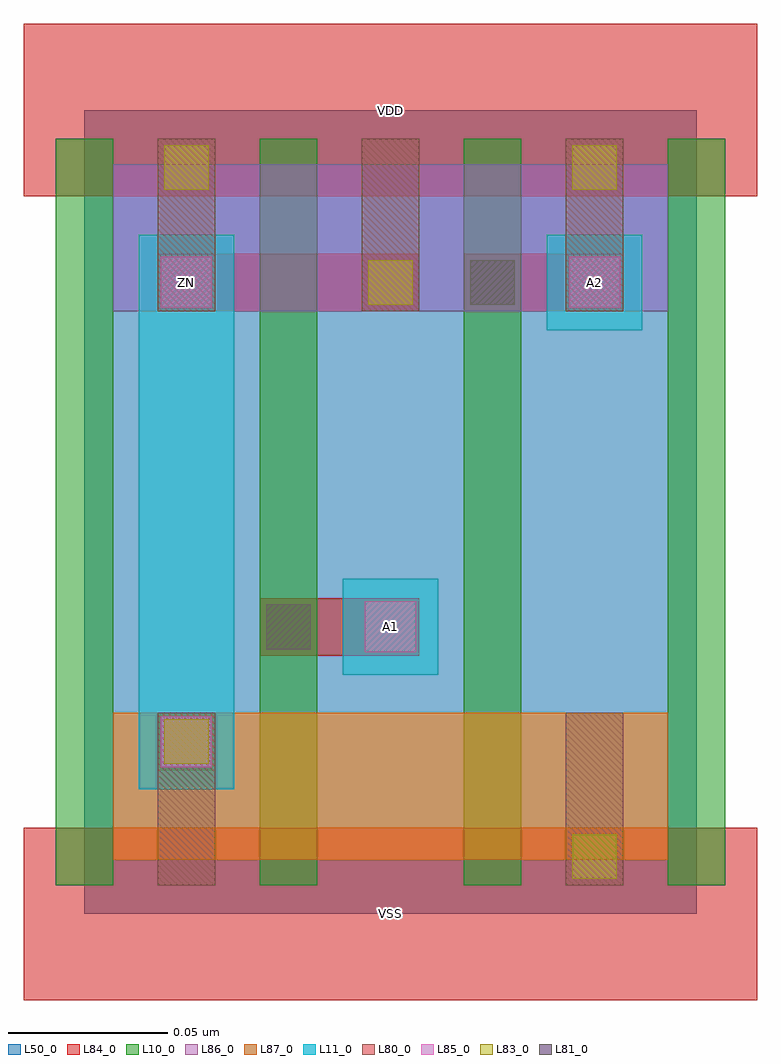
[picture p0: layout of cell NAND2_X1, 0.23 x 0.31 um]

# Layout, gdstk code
import gdstk
lib = gdstk.Library(unit=1e-6, precision=1e-09)
def R(c, l, rs):  # rectangles x0, y0, x1, y1
    for r in rs: c.add(gdstk.rectangle(r[:2], r[2:], *l))
def A(c, l, x, y, w, h, nx, ny, dx, dy):  # array of equal rectangles
    R(c, l, [(x+i*dx, y+j*dy, x+i*dx+w, y+j*dy+h) for i in range(nx) for j in range(ny)])
L10_0 = (10, 0)
L11_0 = (11, 0)
L50_0 = (50, 0)
L80_0 = (80, 0)
L81_0 = (81, 0)
L83_0 = (83, 0)
L84_0 = (84, 0)
L85_0 = (85, 0)
L86_0 = (86, 0)
L87_0 = (87, 0)

nand2_x1 = lib.new_cell('NAND2_X1')
A(nand2_x1, L10_0, -0.009, 0.009, 0.018, 0.234, 4, 1, 0.064, 0)
R(nand2_x1, L11_0, [(0.017,0.039,0.047,0.213), (0.081,0.075,0.111,0.105), (0.145,0.183,0.175,0.213)])
R(nand2_x1, L50_0, [(0,0,0.192,0.252)])
A(nand2_x1, L80_0, 0.023, 0.189, 0.018, 0.054, 3, 1, 0.064, 0)
R(nand2_x1, L80_0, [(0.023,0.009,0.041,0.063), (0.151,0.009,0.169,0.063)])
R(nand2_x1, L81_0, [(0.057,0.083,0.071,0.097), (0.121,0.191,0.135,0.205)])
R(nand2_x1, L83_0, [(0.153,0.011,0.167,0.025), (0.025,0.047,0.039,0.061), (0.089,0.191,0.103,0.205), (0.025,0.227,0.039,0.241), (0.153,0.227,0.167,0.241)])
R(nand2_x1, L84_0, [(-0.019,-0.027,0.211,0.027), (0.023,0.045,0.041,0.063), (0.055,0.081,0.105,0.099), (0.023,0.189,0.105,0.207), (0.119,0.189,0.169,0.207), (-0.019,0.225,0.211,0.279)])
R(nand2_x1, L85_0, [(0.024,0.046,0.04,0.062), (0.088,0.082,0.104,0.098), (0.024,0.19,0.04,0.206), (0.152,0.19,0.168,0.206)])
R(nand2_x1, L86_0, [(0.009,0.189,0.183,0.235)])
R(nand2_x1, L87_0, [(0.009,0.017,0.183,0.063)])
nand2_x1.add(gdstk.Label('VDD', (0.096,0.252), layer=88, texttype=0))
nand2_x1.add(gdstk.Label('VSS', (0.096,0), layer=88, texttype=0))
nand2_x1.add(gdstk.Label('ZN', (0.032,0.198), layer=31, texttype=0))
nand2_x1.add(gdstk.Label('A1', (0.096,0.09), layer=31, texttype=0))
nand2_x1.add(gdstk.Label('A2', (0.16,0.198), layer=31, texttype=0))

lib.write_gds('NAND2_X1.gds')
